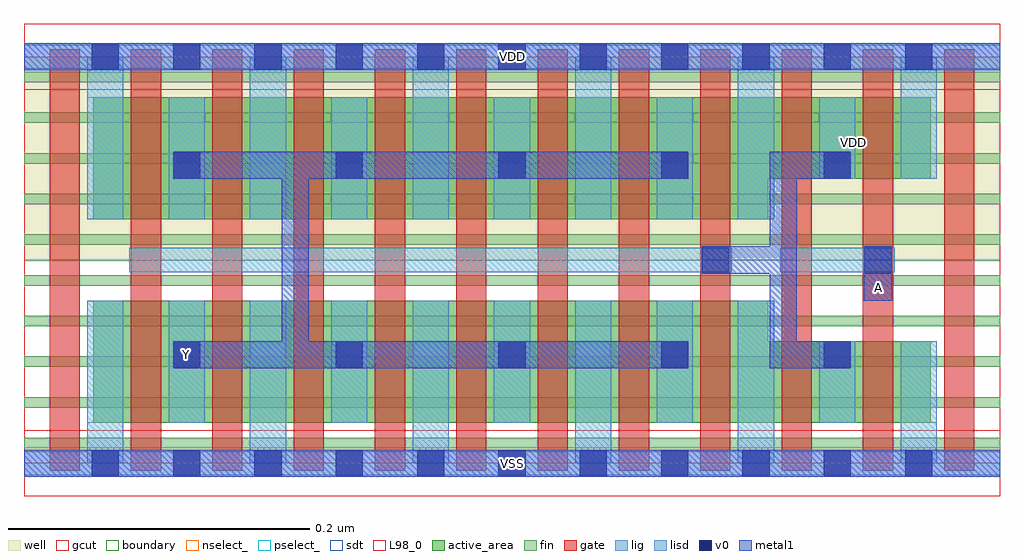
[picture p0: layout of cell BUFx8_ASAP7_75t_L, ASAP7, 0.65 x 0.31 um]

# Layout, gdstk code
import gdstk
lib = gdstk.Library(unit=1e-6, precision=2.5e-10)
def R(c, l, rs):  # rectangles x0, y0, x1, y1
    for r in rs: c.add(gdstk.rectangle(r[:2], r[2:], *l))
def A(c, l, x, y, w, h, nx, ny, dx, dy):  # array of equal rectangles
    R(c, l, [(x+i*dx, y+j*dy, x+i*dx+w, y+j*dy+h) for i in range(nx) for j in range(ny)])
def P(c, l, *ps):  # polygons
    for p in ps: c.add(gdstk.Polygon(p, *l))
well = (1, 0)
fin = (2, 0)
gate = (7, 0)
gcut = (10, 0)
active_area = (11, 0)
nselect_ = (12, 0)
pselect_ = (13, 0)
lig = (16, 0)
lisd = (17, 0)
v0 = (18, 0)
metal1 = (19, 0)
sdt = (88, 0)
L98_0 = (98, 0)
boundary = (100, 0)

bufx8_asap7_75t_l = lib.new_cell('BUFx8_ASAP7_75t_L')
R(bufx8_asap7_75t_l, well, [(0,0.135,0.648,0.27)])
A(bufx8_asap7_75t_l, fin, 0, 0.01, 0.648, 0.007, 1, 10, 0, 0.027)
A(bufx8_asap7_75t_l, gate, 0.017, -0.005, 0.02, 0.28, 12, 1, 0.054, 0)
R(bufx8_asap7_75t_l, gcut, [(0,-0.022,0.648,0.022), (0,0.248,0.648,0.292)])
P(bufx8_asap7_75t_l, active_area, [(0.602,0.081),(0.494,0.081),(0.494,0.108),(0.046,0.108),(0.046,0.027),(0.602,0.027)],
  [(0.602,0.243),(0.046,0.243),(0.046,0.162),(0.494,0.162),(0.494,0.189),(0.602,0.189)])
R(bufx8_asap7_75t_l, nselect_, [(0,0,0.648,0.135)])
R(bufx8_asap7_75t_l, pselect_, [(0,0.135,0.648,0.27)])
R(bufx8_asap7_75t_l, lig, [(0,-0.008,0.648,0.008), (0.07,0.127,0.47,0.143), (0.502,0.127,0.578,0.143), (0,0.262,0.648,0.278)])
A(bufx8_asap7_75t_l, lisd, 0.042, 0, 0.024, 0.108, 5, 2, 0.108, 0.162)
A(bufx8_asap7_75t_l, lisd, 0.096, 0.027, 0.024, 0.081, 4, 2, 0.108, 0.135)
R(bufx8_asap7_75t_l, lisd, [(0.582,0,0.606,0.081), (0.528,0.027,0.552,0.081), (0.528,0.189,0.552,0.243), (0.582,0.189,0.606,0.27)])
A(bufx8_asap7_75t_l, v0, 0.045, -0.009, 0.018, 0.018, 11, 2, 0.054, 0.27)
A(bufx8_asap7_75t_l, v0, 0.099, 0.063, 0.018, 0.018, 5, 2, 0.108, 0.126)
R(bufx8_asap7_75t_l, v0, [(0.45,0.126,0.468,0.144), (0.558,0.126,0.576,0.144)])
R(bufx8_asap7_75t_l, metal1, [(0,-0.009,0.648,0.009), (0.558,0.108,0.576,0.144), (0,0.261,0.648,0.279)])
P(bufx8_asap7_75t_l, metal1, [(0.549,0.081),(0.513,0.081),(0.513,0.189),(0.549,0.189),(0.549,0.207),(0.495,0.207),(0.495,0.144),(0.45,0.144),(0.45,0.126),(0.495,0.126),(0.495,0.063),(0.549,0.063)],
  [(0.441,0.081),(0.189,0.081),(0.189,0.189),(0.441,0.189),(0.441,0.207),(0.099,0.207),(0.099,0.189),(0.171,0.189),(0.171,0.081),(0.099,0.081),(0.099,0.063),(0.441,0.063)])
A(bufx8_asap7_75t_l, sdt, 0.042, 0.027, 0.024, 0.081, 9, 2, 0.054, 0.135)
R(bufx8_asap7_75t_l, sdt, [(0.528,0.027,0.552,0.081), (0.582,0.027,0.606,0.081), (0.528,0.189,0.552,0.243), (0.582,0.189,0.606,0.243)])
R(bufx8_asap7_75t_l, L98_0, [(0,0,0.648,0.27)])
R(bufx8_asap7_75t_l, boundary, [(0,0,0.648,0.27)])
bufx8_asap7_75t_l.add(gdstk.Label('Y', (0.108,0.072), layer=19, texttype=251))
bufx8_asap7_75t_l.add(gdstk.Label('A', (0.567,0.117), layer=19, texttype=251))
bufx8_asap7_75t_l.add(gdstk.Label('VSS', (0.324,0), layer=19, texttype=251))
bufx8_asap7_75t_l.add(gdstk.Label('VDD', (0.324,0.27), layer=19, texttype=251))
bufx8_asap7_75t_l.add(gdstk.Label('VDD', (0.551,0.213), layer=1, texttype=251))
bufx8_asap7_75t_l.add(gdstk.Label('VSS', (0.745,0.213), layer=3, texttype=251))

lib.write_gds('BUFx8_ASAP7_75t_L.gds')
